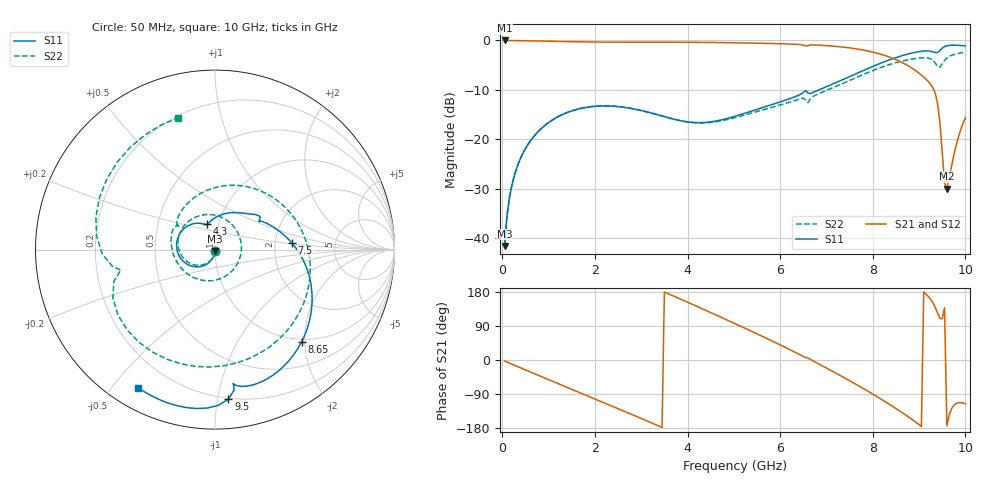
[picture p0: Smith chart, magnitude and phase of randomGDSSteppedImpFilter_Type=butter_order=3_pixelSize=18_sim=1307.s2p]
! freq	dB(S11)	phase(S11)	dB(S12)	phase(S12)
!  dB(S21)	phase(S21)	dB(S22)	phase(S22)
!S-par simulation data
#  GHz  S  DB  R 50
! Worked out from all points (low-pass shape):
!   200 points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, 50 MHz to 10 GHz, reference 50 ohm
!   highest |S21| = 0.00 dB at 50 MHz (marker M1); lowest = -30.0 dB at 9.6 GHz (marker M2)
!   |S21| within 3 dB of the highest: start of sweep to 8.244 GHz
!   lowest |S11| = -41.6 dB at 50 MHz (marker M3), VSWR 1.02, Z = 50 - j0.827 ohm
!   |S11| at or under -10 dB: start of sweep to 6.835 GHz
!   |S22| runs from -41.7 to -2.3 dB; largest |S21 - S12| = 0
!   S11 on the Smith chart (normalised r, x): 50 MHz: 1.00, -0.02; 4.3 GHz: 0.88, +0.25; 7.5 GHz: 2.49, +0.22; 8.65 GHz: 0.95, -1.93; 9.5 GHz: 0.19, -1.07; 10 GHz: 0.09, -0.59
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0.05  -41.64 -92.1  -0.00 -2.6  -0.00 -2.6  -41.66 -92.4
0.2  -29.64 -100.0  -0.02 -10.5  -0.02 -10.5  -29.65 -101.1
0.5  -21.91 -115.1  -0.06 -26.1  -0.06 -26.1  -21.89 -118.0
1.15  -15.71 -146.9  -0.19 -59.6  -0.19 -59.6  -15.71 -153.9
1.75  -13.66 -174.6  -0.29 -90.1  -0.29 -90.1  -13.66 172.7
2.5  -13.40 153.3  -0.35 -128.3  -0.35 -128.3  -13.39 128.4
3.4  -15.17 122.5  -0.35 -175.2  -0.35 -175.2  -15.17 65.6
4.3  -16.64 107.2  -0.39 136.2  -0.39 136.2  -16.71 -15.3
5.05  -15.28 92.6  -0.48 94.6  -0.48 94.6  -15.57 -83.6
5.75  -13.20 69.2  -0.61 54.6  -0.61 54.6  -13.74 -140.4
6.7  -10.55 32.4  -0.90 -1.6  -0.90 -1.6  -11.42 141.5
7.5  -7.32 4.8  -1.51 -54.6  -1.51 -54.6  -8.10 63.0
7.9  -5.66 -11.4  -2.15 -82.8  -2.15 -82.8  -6.48 22.3
8.35  -3.97 -32.0  -3.34 -116.3  -3.34 -116.3  -4.92 -25.7
8.65  -3.04 -46.8  -4.55 -140.1  -4.55 -140.1  -4.14 -60.4
9  -2.26 -65.3  -6.63 -170.5  -6.63 -170.5  -3.56 -106.4
9.3  -2.32 -81.2  -9.59 150.7  -9.59 150.7  -4.02 -154.7
9.4  -2.43 -82.1  -12.77 123.4  -12.77 123.4  -5.30 -167.0
9.5  -1.55 -84.9  -22.64 108.9  -22.64 108.9  -4.75 -170.6
9.55  -1.23 -88.7  -28.98 137.6  -28.98 137.6  -4.04 -177.7
9.6  -1.08 -92.7  -29.99 -173.9  -29.99 -173.9  -3.56 173.6
10  -1.10 -119.0  -15.66 -115.7  -15.66 -115.7  -2.35 105.5
